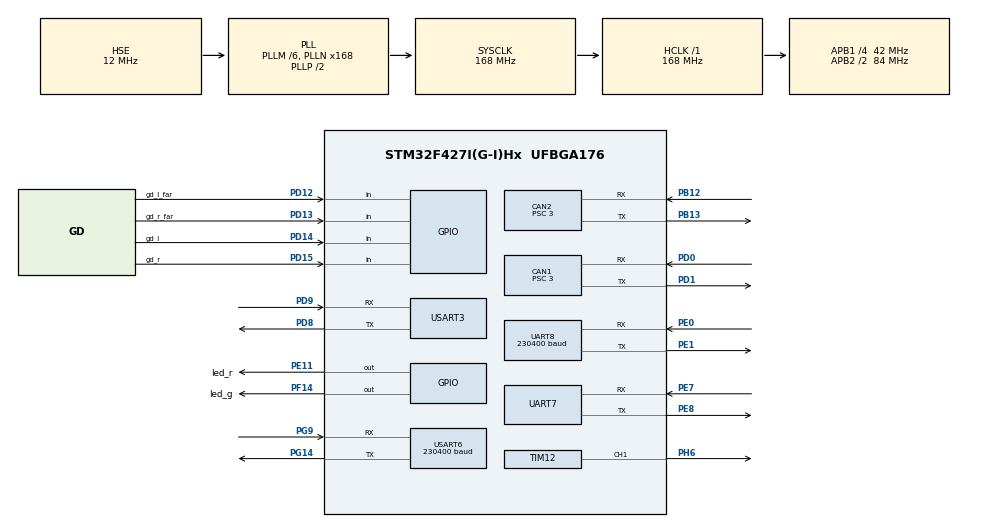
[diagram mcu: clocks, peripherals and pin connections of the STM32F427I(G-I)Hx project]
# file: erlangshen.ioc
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CAN1.BS1=CAN_BS1_10TQ
CAN1.BS2=CAN_BS2_3TQ
CAN1.CalculateBaudRate=1000000
CAN1.CalculateTimeBit=1000
CAN1.CalculateTimeQuantum=71.42857142857143
CAN1.Prescaler=3
CAN2.BS1=CAN_BS1_10TQ
CAN2.BS2=CAN_BS2_3TQ
CAN2.CalculateBaudRate=1000000
CAN2.CalculateTimeBit=1000
CAN2.CalculateTimeQuantum=71.42857142857143
CAN2.Prescaler=3
Mcu.Family=STM32F4
Mcu.Name=STM32F427I(G-I)Hx
Mcu.Package=UFBGA176
NVIC.CAN1_RX0_IRQn=true\:0\:0\:false\:false\:true\:true\:true\:true
NVIC.PriorityGroup=NVIC_PRIORITYGROUP_4
NVIC.TIM2_IRQn=true\:1\:0\:true\:false\:true\:true\:true\:true
NVIC.UART7_IRQn=true\:1\:0\:true\:false\:true\:true\:true\:true
NVIC.UART8_IRQn=true\:2\:0\:true\:false\:true\:true\:true\:true
NVIC.USART3_IRQn=true\:0\:0\:false\:false\:true\:true\:true\:true
NVIC.USART6_IRQn=true\:2\:0\:true\:false\:true\:true\:true\:true
PA13.Mode=Serial_Wire
PA13.Signal=SYS_JTMS-SWDIO
PA14.Mode=Serial_Wire
PA14.Signal=SYS_JTCK-SWCLK
PB12.Mode=CAN_Activate
PB12.Signal=CAN2_RX
PB13.Mode=CAN_Activate
PB13.Signal=CAN2_TX
PD0.Mode=CAN_Activate
PD0.Signal=CAN1_RX
PD1.Mode=CAN_Activate
PD1.Signal=CAN1_TX
PD12.GPIO_Label=gd_l_far
PD12.GPIO_PuPd=GPIO_PULLUP
PD12.Signal=GPIO_Input
PD13.GPIO_Label=gd_r_far
PD13.GPIO_PuPd=GPIO_PULLUP
PD13.Signal=GPIO_Input
PD14.GPIO_Label=gd_l
PD14.GPIO_PuPd=GPIO_PULLUP
PD14.Signal=GPIO_Input
PD15.GPIO_Label=gd_r
PD15.GPIO_PuPd=GPIO_PULLUP
PD15.Signal=GPIO_Input
PD8.Mode=Asynchronous
PD8.Signal=USART3_TX
PD9.Mode=Asynchronous
PD9.Signal=USART3_RX
PE0.Mode=Asynchronous
PE0.Signal=UART8_RX
PE1.Mode=Asynchronous
PE1.Signal=UART8_TX
PE11.GPIO_Label=led_r
PE11.GPIO_PuPd=GPIO_NOPULL
PE11.PinState=GPIO_PIN_SET
PE11.Signal=GPIO_Output
PE7.Mode=Asynchronous
PE7.Signal=UART7_RX
PE8.Mode=Asynchronous
PE8.Signal=UART7_TX
PF14.GPIO_Label=led_g
PF14.GPIO_PuPd=GPIO_NOPULL
PF14.PinState=GPIO_PIN_SET
PF14.Signal=GPIO_Output
PG14.Mode=Asynchronous
PG14.Signal=USART6_TX
PG9.Mode=Asynchronous
PG9.Signal=USART6_RX
PH0/OSC_IN.Mode=HSE-External-Oscillator
PH0/OSC_IN.Signal=RCC_OSC_IN
PH1/OSC_OUT.Mode=HSE-External-Oscillator
PH1/OSC_OUT.Signal=RCC_OSC_OUT
PH6.Signal=S_TIM12_CH1
ProjectManager.HeapSize=0x200
ProjectManager.StackSize=0x400
ProjectManager.TargetToolchain=MDK-ARM V5
RCC.48MHZClocksFreq_Value=84000000
RCC.AHBFreq_Value=168000000
RCC.APB1CLKDivider=RCC_HCLK_DIV4
RCC.APB1Freq_Value=42000000
RCC.APB1TimFreq_Value=84000000
RCC.APB2CLKDivider=RCC_HCLK_DIV2
RCC.APB2Freq_Value=84000000
RCC.APB2TimFreq_Value=168000000
RCC.CortexFreq_Value=168000000
RCC.HCLKFreq_Value=168000000
RCC.HSE_VALUE=12000000
RCC.HSI_VALUE=16000000
RCC.LSE_VALUE=32768
RCC.PLLM=6
RCC.PLLN=168
RCC.PLLSourceVirtual=RCC_PLLSOURCE_HSE
RCC.SYSCLKFreq_VALUE=168000000
RCC.SYSCLKSource=RCC_SYSCLKSOURCE_PLLCLK
RCC.VCOOutputFreq_Value=336000000
SH.S_TIM12_CH1.0=TIM12_CH1,PWM Generation1 CH1
TIM12.Channel-PWM\ Generation1\ CH1=TIM_CHANNEL_1
TIM12.Period=30
TIM12.Prescaler=999
TIM2.AutoReloadPreload=TIM_AUTORELOAD_PRELOAD_ENABLE
TIM2.Period=24
TIM2.Prescaler=16799
UART7.VirtualMode=Asynchronous
UART8.BaudRate=230400
UART8.VirtualMode=Asynchronous
USART3.VirtualMode=VM_ASYNC
USART6.BaudRate=230400
USART6.VirtualMode=VM_ASYNC
VP_TIM12_VS_ClockSourceINT.Mode=Internal
VP_TIM2_VS_ClockSourceINT.Mode=Internal
board=custom

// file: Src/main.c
/* USER CODE BEGIN Header */
/**
  ******************************************************************************
  * @file           : main.c
  * @brief          : Main program body
  ******************************************************************************
  * @attention
  *
  * Copyright (c) 2025 STMicroelectronics.
  * All rights reserved.
  *
  * This software is licensed under terms that can be found in the LICENSE file
  * in the root directory of this software component.
  * If no LICENSE file comes with this software, it is provided AS-IS.
  *
  ******************************************************************************
  */
/* USER CODE END Header */
#include "main.h"
#include "can.h"
#include "tim.h"
#include "usart.h"
#include "gpio.h"

/* USER CODE BEGIN Includes */
#include "bsp_can.h"
#include "CAN_receive.h"
#include "pid.h"
#include "usart.h"
#include "mecanum_control.h"
#include <math.h>
#include <string.h>
#include <stdio.h>
#include "hwt101.h"
#include "stp_23l.h"
#include "communication.h"
#include "ttl.h"
/* USER CODE END Includes */

/* USER CODE BEGIN PV */
/*角度设定*/
fp32 t1=0.0f;
fp32 t2=90.0f;
fp32 t3=180.0f;
fp32 t4=-90.0f;

fp32 a=1000.0f;
fp32 b=3000.0f;

extern UART_HandleTypeDef huart7;
extern UART_HandleTypeDef huart6;

/* pid部分 */
//速度环
extern q_pid speed_pid[4];
//角度环
extern q_pid angle_pid_s; //直线pid
extern q_pid angle_pid_t; //转向pid

/* 中断接收变量定义 */
//uart6接收缓冲区（左激光）
extern uint8_t uart6_rx_buf[1];
//uart8接收缓冲区（右激光）
extern uint8_t uart8_rx_buf[1];
//陀螺仪
extern uint8_t g_usart7_receivedata;
//通信
extern uint8_t rxByte;

//光电标志位
extern uint8_t gd_l;
extern uint8_t gd_r;

/* text */
float vofa_data[3];
uint8_t test=0;

/* USER CODE END PV */

void SystemClock_Config(void);

int main(void)
{

  /* MCU Configuration--------------------------------------------------------*/

  /* Reset of all peripherals, Initializes the Flash interface and the Systick. */
  HAL_Init();

  /* Configure the system clock */
  SystemClock_Config();

  /* Initialize all configured peripherals */
  MX_GPIO_Init();
  MX_CAN1_Init();
  MX_CAN2_Init();
  MX_USART6_UART_Init();
  MX_TIM2_Init();
  MX_UART7_Init();
  MX_USART3_UART_Init();
  MX_UART8_Init();
  MX_TIM12_Init();
  /* USER CODE BEGIN 2 */

  can_filter_init();

  /* 中断初始化 */
    /* 开启 UART 接收中断 */
  HAL_UART_Receive_IT(&huart3, &rxByte, 1);
  HAL_UART_Receive_IT(&huart7, &g_usart7_receivedata, 1); // 开启串口7接收中断(陀螺仪)
  HAL_UART_Receive_IT(&huart6, uart6_rx_buf, 1); //左侧激光
  HAL_UART_Receive_IT(&huart8, uart8_rx_buf, 1); //右侧激光

  //定时器2中断
  HAL_TIM_Base_Start_IT(&htim2);

  /* PID初始化 */
  //速度环初始化
  for (int i = 0; i < 4; i++)
  {
    speed_pid_init(&speed_pid[i]);
    set_speed_pid(&speed_pid[i], 10.7f, 0.63f, 0.5f, 8000.0f, 600.0f,0.0f);
                            //设置kp,   ki,    kd, 最大输出，最大积分， 死区
                            //初调kp=5.5,ki=0.4,kd=0.2,最大输出2500，积分300，死区10
                            //9.21 kp=10.7,ki=0.63,kd=0.5,最大输出6000，积分600，死区0,效果可以
    speed_pid[i].target = 0.0f; // 初始目标速度为
  }

  //直线角度环和转弯角度环初始化
  angle_controller_init(&angle_pid_s); //角度控制初始化
  angle_controller_init(&angle_pid_t); //角度控制初始化
  set_angle_pid(&angle_pid_s, 200.0f, 0.1f, 0.0f, 6000.0f, 470.0f);
//510*0.6
  set_angle_pid(&angle_pid_t, 60.0f, 0.1f, 0.0f, 6000.0f, 400.0f);
            //设置kp,   ki,   kd,  最大输出，最大积分
	//p50,output1000
	//p60.0f, 0.1f, 0.0f, 1500.0f, 200.0f

  /* 麦克纳姆轮控制初始化 */
  // 初始化麦克纳姆轮控制
  mecanum_init(&mecanum);

  /* 外设初始化 */
  //stp32初始化
  STP23L_Init(&huart6);
  STP23L_UART8_Init(&huart8);

//11
  HAL_Delay(1000);
  /* USER CODE END 2 */

  /* Infinite loop */
  /* USER CODE BEGIN WHILE */
  while (1)
  {
	HAL_Delay(1000);
	hwt101_restart(&huart7);
  buzzer(500);
  set_target_move_to_target(&mecanum,375.0f,0.0f,t1,b,1,1);
  HAL_Delay(100);
  set_target_move_to_target(&mecanum,0.0f,-800.0f,t1,b,1,1);
  HAL_Delay(100);
  communication(&huart3);

  set_target_move_to_target(&mecanum,0.0f,-400.0f,t1,b,1,1);
  HAL_Delay(100);
  set_target_move_to_target(&mecanum,624.5f,0.0f,t1,b,1,1);
  HAL_Delay(100);
  move_x(&mecanum,t1,1000.0f);
  HAL_Delay(250);
  move_y(&mecanum,t1,1000.0f);
  HAL_Delay(250);
  set_target_move_to_target(&mecanum,210.0f,0.0f,t1,1000.0f,0,1); //第一个货站
		HAL_Delay(25000);
	communication(&huart3);
	    gd_l=0;
  gd_r=0;

  set_target_move_to_target(&mecanum,458.0f,0.0f,t1,b,1,1);  //走到避障起点
  HAL_Delay(100);
  set_target_move_to_target(&mecanum,0.0f,330.0f,t1,b,1,1);  //左移
  HAL_Delay(100);
  set_target_move_to_target(&mecanum,884.7f,0.0f,t1,b,1,1);
  HAL_Delay(100);
  set_target_move_to_target(&mecanum,0.0f,-330.0f,t1,b,1,1);  //右移,开始是225，多了
  HAL_Delay(100);
  set_target_move_to_target(&mecanum,126.0f,0.0f,t1,b,1,1);
  HAL_Delay(100);
  move_x(&mecanum,t1,1000.0f);
  HAL_Delay(250);
  move_y(&mecanum,t1,1000.0f);
  HAL_Delay(250);
  set_target_move_to_target(&mecanum,210.0f,0.0f,t1,1000.0f,0,1);  //第二个货站
	communication(&huart3);
    gd_l=0;
  gd_r=0;

  set_target_move_to_target(&mecanum,900.0f,0.0f,t1,b,1,1);
  HAL_Delay(10);

  move_angle(&mecanum,t2);  //第一次转弯
  HAL_Delay(500);

  set_target_move_to_target(&mecanum,69.5f,0.0f,t2,b,1,1);
  HAL_Delay(10);
  move_x(&mecanum,t2,800.0f);
  HAL_Delay(500);
  move_y(&mecanum,t2,800.0f);
  HAL_Delay(500);
  set_target_move_to_target(&mecanum,210.0f,0.0f,t2,800.0f,0,1); //第三个货站
communication(&huart3);
    gd_l=0;
  gd_r=0;

  set_target_move_to_target(&mecanum,470.0f,0.0f,t2,b,1,1);
  HAL_Delay(10);
  move_x(&mecanum,t2,800.0f);
  HAL_Delay(500);
  move_y(&mecanum,t2,800.0f);
  HAL_Delay(500);
  set_target_move_to_target(&mecanum,210.0f,0.0f,t2,1000.0f,0,1); //第四个货站
	communication(&huart3);
    gd_l=0;
  gd_r=0;

  set_target_move_to_target(&mecanum,400.0f,0.0f,t2,b,1,1);
  HAL_Delay(10);
  move_angle(&mecanum,t3);  //第二次转弯
  HAL_Delay(500);

  set_target_move_to_target(&mecanum,1600.0f,0.0f,t3,4000.0f,0,1); //上跷跷板

  set_target_move_to_target(&mecanum,630.0f,0.0f,t3,b,1,1);
  HAL_Delay(10);

  move_angle(&mecanum,t4);  //第三次转弯
  HAL_Delay(500);

  set_target_move_to_target(&mecanum,450.5f,0.0f,t4,b,1,1);
  move_x(&mecanum,t4,1000.0f);
  HAL_Delay(500);
  move_y(&mecanum,t4,1000.0f);
  HAL_Delay(500);
  set_target_move_to_target(&mecanum,200.0f,0.0f,t4,800.0f,0,1);//第五个货站
	communication(&huart3);
    gd_l=0;
  gd_r=0;

  set_target_move_to_target(&mecanum,-780.0f,0.0f,t4,b,1,1);
  HAL_Delay(10);

  move_angle(&mecanum,t3);  //第四次转弯 180度
  HAL_Delay(500);

  set_target_move_to_target(&mecanum,253.0f,0.0f,t3,b,1,1);
  HAL_Delay(10);
  move_x(&mecanum,t3,1000.0f);
  HAL_Delay(500);
  move_y(&mecanum,t3,1000.0f);
  HAL_Delay(500);
  set_target_move_to_target(&mecanum,200.0f,0.0f,t3,1000.0f,0,1); //第六个货站
  communication(&huart3);
    gd_l=0;
  gd_r=0;

  set_target_move_to_target(&mecanum,1420.0f,0.0f,t3,b,1,1); //回家
  HAL_Delay(10);
  set_target_move_to_target(&mecanum,0.0f,390.0f,t3,b,1,1); //左移
  HAL_Delay(10);

                     /***********黑场*************/

//HAL_Delay(1000);
//	hwt101_restart(&huart7);
 buzzer(500);
//  set_target_move_to_target(&mecanum,390.0f,0.0f,t1,4000.0f,1,1);
//  HAL_Delay(10);
//  set_target_move_to_target(&mecanum,0.0f,800.0f,t1,4000.0f,1,1); //到达取货站
//  HAL_Delay(10);
communication(&huart3);
//  set_target_move_to_target(&mecanum,0.0f,400.0f,t1,3000.0f,1,1);
//  HAL_Delay(10);
//  set_target_move_to_target(&mecanum,624.5f,0.0f,t1,3000.0f,1,1); //货站点
//  HAL_Delay(10);
//  move_x(&mecanum,t1,1000.0f);
//  HAL_Delay(250);
//  move_y(&mecanum,t1,1000.0f);
//  HAL_Delay(250);
//  set_target_move_to_target(&mecanum,210.0f,0.0f,t1,1000.0f,0,1); //第一个货站
communication(&huart3);
//  gd_l=0;
//  gd_r=0;
////while (1)
////{
////  UART_SendData(&huart3, gd_l,gd_r,1);
////  processReceivedData();
////  HAL_Delay(50);
////  if(recivedata)
////  {
////    // 处理接收到的数据
////    gd_l=0;
////    gd_r=0;
////    break;
////  }
////}

//  set_target_move_to_target(&mecanum,458.0f,0.0f,t1,3000.0f,1,1);  //避障起点
//  HAL_Delay(10);
//  set_target_move_to_target(&mecanum,0.0f,-330.0f,t1,3000.0f,1,1);  //右移
//  HAL_Delay(10);
//  set_target_move_to_target(&mecanum,884.0f,0.0f,t1,3000.0f,1,1);
//  HAL_Delay(10);
//  set_target_move_to_target(&mecanum,0.0f,330.0f,t1,3000.0f,1,1);  //左移,归位开始是225，多了
//  HAL_Delay(10);
//  set_target_move_to_target(&mecanum,126.0f,0.0f,t1,3000.0f,1,1);
//  HAL_Delay(10);
//  move_x(&mecanum,t1,1000.0f);
//  HAL_Delay(250);
//  move_y(&mecanum,t1,1000.0f);
//  HAL_Delay(250);
//  set_target_move_to_target(&mecanum,210.0f,0.0f,t1,1000.0f,0,1);  //第二个货站
communication(&huart3);
//  gd_l=0;
//  gd_r=0;

//
//  set_target_move_to_target(&mecanum,900.0f,0.0f,t1,3000.0f,1,1);
//  HAL_Delay(10);
//
//  move_angle(&mecanum,t4);  //第一次转弯
//  HAL_Delay(500);
//
//  set_target_move_to_target(&mecanum,69.5f,0.0f,t4,3000.0f,1,1);
//  HAL_Delay(10);
//  move_x(&mecanum,t4,800.0f);
//  HAL_Delay(500);
//  move_y(&mecanum,t4,800.0f);
//  HAL_Delay(500);
//  set_target_move_to_target(&mecanum,210.0f,0.0f,t4,800.0f,0,1); //第三个货站
communication(&huart3);
//  gd_l=0;
//  gd_r=0;

//  set_target_move_to_target(&mecanum,470.0f,0.0f,t4,3000.0f,1,1);
//  HAL_Delay(10);
//  move_x(&mecanum,t4,800.0f);
//  HAL_Delay(500);
//  move_y(&mecanum,t4,800.0f);
//  HAL_Delay(500);
//  set_target_move_to_target(&mecanum,210.0f,0.0f,t4,3000.0f,0,1); //第四个货站
communication(&huart3);
//  gd_l=0;
//  gd_r=0;

//
//
//  set_target_move_to_target(&mecanum,400.0f,0.0f,t4,3000.0f,1,1);
//  HAL_Delay(10);
//  move_angle(&mecanum,t3);  //第二次转弯
//  HAL_Delay(500);
set_target_move_to_target(&mecanum,1600.0f,0.0f,t3,4000.0f,0,1); //上跷跷板

  set_target_move_to_target(&mecanum,630.0f,0.0f,t3,b,1,1);
  HAL_Delay(10);
////  set_target_move_to_target_up(&mecanum,1500.0f+70.0f,0.0f,t3,4000.0f,1,1); //上跷跷板
////  HAL_Delay(10);
////
////  hwt101_restart(&huart7); //重启hwt101(内部有haldelay)，注意角度
//
////  set_target_move_to_target(&mecanum,630.0f,0.0f,t1,3000.0f,1,1);
////  HAL_Delay(10);
//
//  move_angle(&mecanum,t4);  //第三次转弯
//  HAL_Delay(500);
//
//  set_target_move_to_target(&mecanum,450.5f,0.0f,t4,3000.0f,1,1);
//  move_x(&mecanum,t4,1000.0f);
//  HAL_Delay(500);
//  move_y(&mecanum,t4,1000.0f);
//  HAL_Delay(500);
//  set_target_move_to_target(&mecanum,212.0f-2.0f,0.0f,t4,1000.0f,0,1);//第五个货站
communication(&huart3);
//  gd_l=0;
//  gd_r=0;

//
//  set_target_move_to_target(&mecanum,-780.0f,0.0f,t4,3000.0f,1,1);
//  HAL_Delay(10);

//  move_angle(&mecanum,t1);  //第四次转弯 180度
//  HAL_Delay(500);

//  set_target_move_to_target(&mecanum,253.0f,0.0f,t1,3000.0f,1,1);
//  HAL_Delay(10);
//  move_x(&mecanum,t1,1000.0f);
//  HAL_Delay(500);
//  move_y(&mecanum,t1,1000.0f);
//  HAL_Delay(500);
//  set_target_move_to_target(&mecanum,210.0f,0.0f,t1,1000.0f,0,1); //第六个货站
communication(&huart3);;
//  gd_l=0;
//  gd_r=0;

//
//  set_target_move_to_target(&mecanum,1420.0f,0.0f,t1,3000.0f,1,1); //回家
//  HAL_Delay(10);
//  set_target_move_to_target(&mecanum,0.0f,-390.0f,t1,3000.0f,1,1); //左移
//  HAL_Delay(10);

	while(1){}

    /* USER CODE END WHILE */

}
}

void SystemClock_Config(void)
{
  RCC_OscInitTypeDef RCC_OscInitStruct = {0};
  RCC_ClkInitTypeDef RCC_ClkInitStruct = {0};

  /** Configure the main internal regulator output voltage
  */
  __HAL_RCC_PWR_CLK_ENABLE();
  __HAL_PWR_VOLTAGESCALING_CONFIG(PWR_REGULATOR_VOLTAGE_SCALE1);

  /** Initializes the RCC Oscillators according to the specified parameters
  * in the RCC_OscInitTypeDef structure.
  */
  RCC_OscInitStruct.OscillatorType = RCC_OSCILLATORTYPE_HSE;
  RCC_OscInitStruct.HSEState = RCC_HSE_ON;
  RCC_OscInitStruct.PLL.PLLState = RCC_PLL_ON;
  RCC_OscInitStruct.PLL.PLLSource = RCC_PLLSOURCE_HSE;
  RCC_OscInitStruct.PLL.PLLM = 6;
  RCC_OscInitStruct.PLL.PLLN = 168;
  RCC_OscInitStruct.PLL.PLLP = RCC_PLLP_DIV2;
  RCC_OscInitStruct.PLL.PLLQ = 4;
  if (HAL_RCC_OscConfig(&RCC_OscInitStruct) != HAL_OK)
  {
    Error_Handler();
  }

  /** Initializes the CPU, AHB and APB buses clocks
  */
  RCC_ClkInitStruct.ClockType = RCC_CLOCKTYPE_HCLK|RCC_CLOCKTYPE_SYSCLK
                              |RCC_CLOCKTYPE_PCLK1|RCC_CLOCKTYPE_PCLK2;
  RCC_ClkInitStruct.SYSCLKSource = RCC_SYSCLKSOURCE_PLLCLK;
  RCC_ClkInitStruct.AHBCLKDivider = RCC_SYSCLK_DIV1;
  RCC_ClkInitStruct.APB1CLKDivider = RCC_HCLK_DIV4;
  RCC_ClkInitStruct.APB2CLKDivider = RCC_HCLK_DIV2;

  if (HAL_RCC_ClockConfig(&RCC_ClkInitStruct, FLASH_LATENCY_5) != HAL_OK)
  {
    Error_Handler();
  }
}

void Error_Handler(void)
{
  __disable_irq();
  while (1)
  {
  }
}
